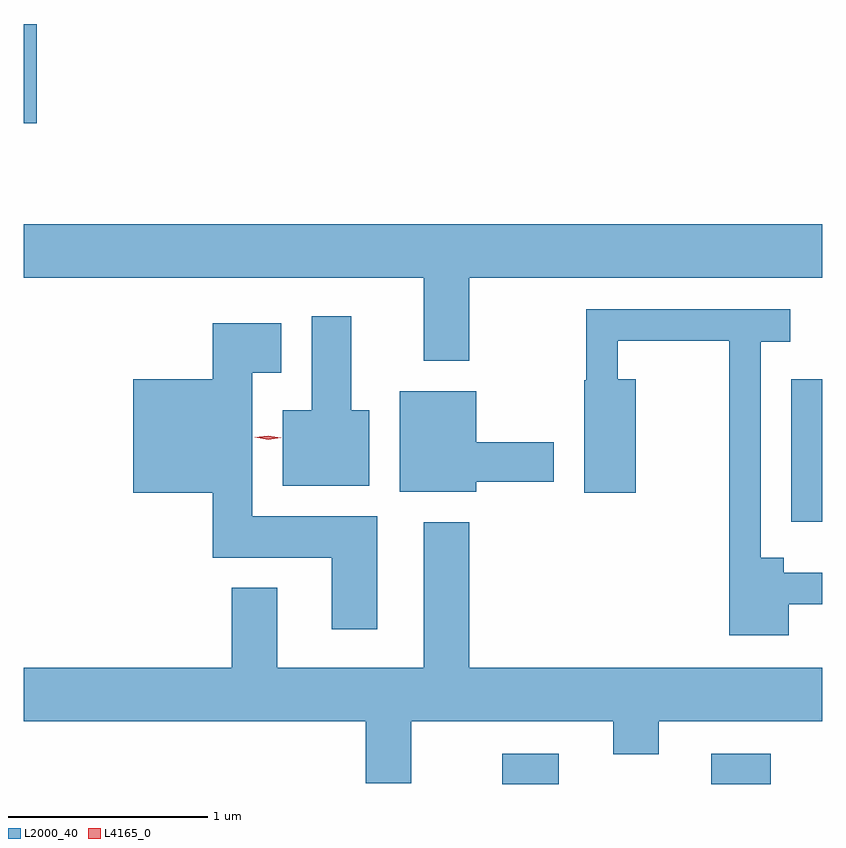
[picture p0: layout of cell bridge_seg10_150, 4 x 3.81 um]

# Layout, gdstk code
import gdstk
lib = gdstk.Library(unit=1e-6, precision=1e-09)
def R(c, l, rs):  # rectangles x0, y0, x1, y1
    for r in rs: c.add(gdstk.rectangle(r[:2], r[2:], *l))
def P(c, l, *ps):  # polygons
    for p in ps: c.add(gdstk.Polygon(p, *l))
L2000_40 = (2000, 40)
L4165_0 = (4165, 0)

bridge_seg10_150 = lib.new_cell('bridge_seg10_150')
R(bridge_seg10_150, L2000_40, [(1565.396,2082.522,1565.679,2082.674), (1566.441,2082.522,1566.739,2082.674), (1566.841,2083.836,1566.998,2084.549), (1562.998,2085.831,1563.064,2086.328)])
P(bridge_seg10_150, L2000_40, [(1565.229,2085.056),(1566.998,2085.056),(1566.998,2085.324),(1562.998,2085.324),(1562.998,2085.056),(1565.001,2085.056),(1565.001,2084.641),(1565.229,2084.641)],
  [(1566.829,2083.421),(1566.998,2083.421),(1566.998,2083.579),(1566.804,2083.579),(1566.804,2083.654),(1566.689,2083.654),(1566.689,2084.736),(1566.838,2084.736),(1566.838,2084.899),(1565.816,2084.899),(1565.816,2084.545),(1565.806,2084.545),(1565.806,2083.981),(1566.064,2083.981),(1566.064,2084.549),(1565.974,2084.549),(1565.974,2084.741),(1566.531,2084.741),(1566.531,2083.266),(1566.829,2083.266)],
  [(1564.729,2084.394),(1564.639,2084.394),(1564.639,2084.864),(1564.441,2084.864),(1564.441,2084.394),(1564.296,2084.394),(1564.296,2084.016),(1564.729,2084.016)],
  [(1564.769,2083.864),(1564.144,2083.864),(1564.144,2084.581),(1564.289,2084.581),(1564.289,2084.829),(1563.946,2084.829),(1563.946,2084.549),(1563.546,2084.549),(1563.546,2083.981),(1563.946,2083.981),(1563.946,2083.656),(1564.541,2083.656),(1564.541,2083.296),(1564.769,2083.296)],
  [(1565.264,2084.036),(1565.654,2084.036),(1565.654,2084.234),(1565.264,2084.234),(1565.264,2084.489),(1564.881,2084.489),(1564.881,2083.986),(1565.264,2083.986)],
  [(1564.711,2082.526),(1564.939,2082.526),(1564.939,2082.836),(1565.951,2082.836),(1565.951,2082.671),(1566.179,2082.671),(1566.179,2082.836),(1566.998,2082.836),(1566.998,2083.104),(1565.229,2083.104),(1565.229,2083.834),(1565.001,2083.834),(1565.001,2083.104),(1564.269,2083.104),(1564.269,2083.504),(1564.041,2083.504),(1564.041,2083.104),(1562.998,2083.104),(1562.998,2082.836),(1564.711,2082.836)])
P(bridge_seg10_150, L4165_0, [(1564.222,2084.247),(1564.156,2084.258),(1564.156,2084.258),(1564.156,2084.259),(1564.222,2084.267),(1564.288,2084.256),(1564.288,2084.256),(1564.288,2084.256)])

lib.write_gds('bridge_seg10_150.gds')
